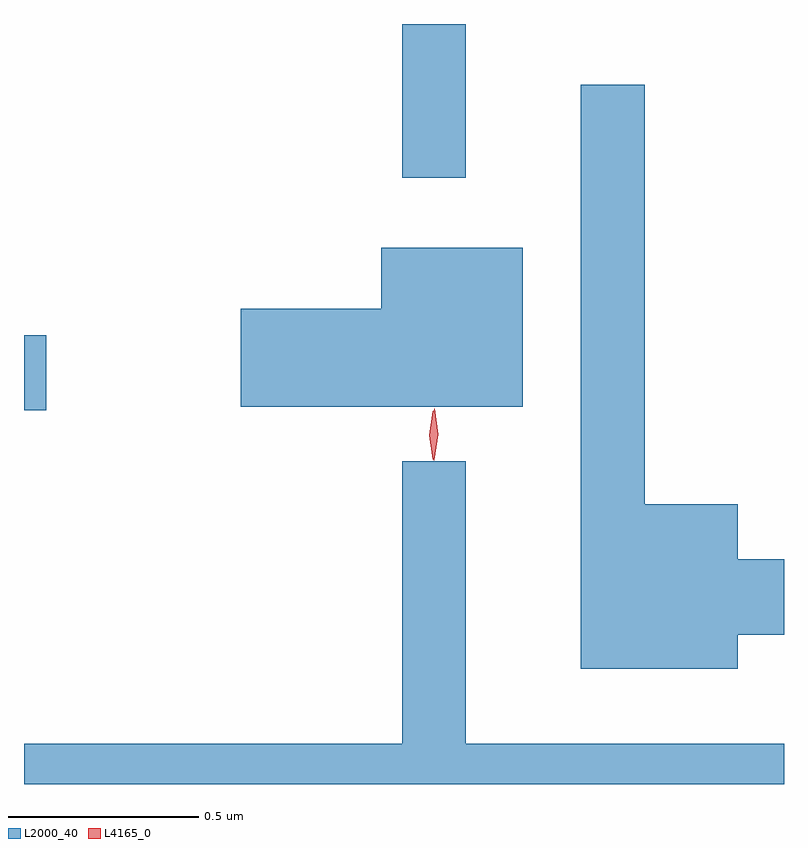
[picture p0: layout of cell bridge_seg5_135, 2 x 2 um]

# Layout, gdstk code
import gdstk
lib = gdstk.Library(unit=1e-6, precision=1e-09)
def R(c, l, rs):  # rectangles x0, y0, x1, y1
    for r in rs: c.add(gdstk.rectangle(r[:2], r[2:], *l))
def P(c, l, *ps):  # polygons
    for p in ps: c.add(gdstk.Polygon(p, *l))
L2000_40 = (2000, 40)
L4165_0 = (4165, 0)

bridge_seg5_135 = lib.new_cell('bridge_seg5_135')
R(bridge_seg5_135, L2000_40, [(1204.106,1400.221,1204.164,1400.419), (1205.101,1400.833,1205.269,1401.238)])
P(bridge_seg5_135, L2000_40, [(1205.984,1399.631),(1206.106,1399.631),(1206.106,1399.829),(1205.984,1399.829),(1205.984,1399.974),(1205.739,1399.974),(1205.739,1401.078),(1205.571,1401.078),(1205.571,1399.541),(1205.984,1399.541)],
  [(1205.419,1400.649),(1205.046,1400.649),(1205.046,1400.489),(1204.676,1400.489),(1204.676,1400.231),(1205.419,1400.231)],
  [(1206.106,1399.344),(1205.269,1399.344),(1205.269,1400.088),(1205.101,1400.088),(1205.101,1399.344),(1204.106,1399.344),(1204.106,1399.238),(1206.106,1399.238)])
P(bridge_seg5_135, L4165_0, [(1205.184,1400.09),(1205.176,1400.158),(1205.186,1400.226),(1205.186,1400.226),(1205.187,1400.226),(1205.196,1400.158),(1205.186,1400.09),(1205.185,1400.09)],
  [(1205.182,1400.093),(1205.173,1400.156),(1205.182,1400.219),(1205.183,1400.22),(1205.184,1400.219),(1205.193,1400.156),(1205.184,1400.093),(1205.183,1400.093)])

lib.write_gds('bridge_seg5_135.gds')
